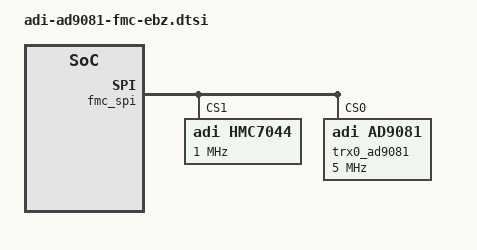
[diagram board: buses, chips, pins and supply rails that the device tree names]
// SPDX-License-Identifier: GPL-2.0
/*
 * dts file for AD9081-FMC-EBZ on Xilinx ZynqMP ZCU102 Rev 1.0
 *
 * Copyright (C) 2019 Analog Devices Inc.
 */

#include <dt-bindings/iio/frequency/hmc7044.h>
#include <dt-bindings/iio/adc/adi,ad9081.h>



&fmc_spi {
	hmc7044: hmc7044@1 {
		#address-cells = <1>;
		#size-cells = <0>;
		#clock-cells = <1>;
		compatible = "adi,hmc7044";
		reg = <1>;
		spi-max-frequency = <1000000>;

		adi,pll1-clkin-frequencies = <122880000 30720000 0 0>;

		adi,pll1-loop-bandwidth-hz = <200>;

		adi,vcxo-frequency = <122880000>;

		adi,pll2-output-frequency = <3100000000>;

		adi,sysref-timer-divider = <1024>;
		adi,pulse-generator-mode = <0>;

		adi,clkin0-buffer-mode  = <0x07>;
		adi,clkin1-buffer-mode  = <0x07>;
		adi,oscin-buffer-mode = <0x15>;

		adi,gpi-controls = <0x00 0x00 0x00 0x00>;
		adi,gpo-controls = <0x37 0x33 0x00 0x00>;

		clock-output-names =
				"hmc7044_out0", "hmc7044_out1", "hmc7044_out2",
				"hmc7044_out3", "hmc7044_out4", "hmc7044_out5",
				"hmc7044_out6", "hmc7044_out7", "hmc7044_out8",
				"hmc7044_out9", "hmc7044_out10", "hmc7044_out11",
				"hmc7044_out12", "hmc7044_out13";

		hmc7044_c0: channel@0 {
			reg = <0>;
			adi,extended-name = "CORE_CLK_RX";
			adi,divider = <8>;	// 387.5
			adi,driver-mode = <HMC7044_DRIVER_MODE_LVDS>;	// LVDS

		};
		hmc7044_c2: channel@2 {
			reg = <2>;
			adi,extended-name = "DEV_REFCLK";
			adi,divider = <8>;	// 387.5
			adi,driver-mode = <HMC7044_DRIVER_MODE_LVDS>;	// LVDS
		};
		hmc7044_c3: channel@3 {
			reg = <3>;
			adi,extended-name = "DEV_SYSREF";
			adi,divider = <256>;	// 12.109375
			adi,driver-mode = <HMC7044_DRIVER_MODE_LVDS>;	// LVDS
		};

		hmc7044_c6: channel@6 {
			reg = <6>;
			adi,extended-name = "CORE_CLK_TX";
			adi,divider = <8>;	// 122880000
			adi,driver-mode = <HMC7044_DRIVER_MODE_LVDS>;	// LVDS
		};

		hmc7044_c8: channel@8 {
			reg = <8>;
			adi,extended-name = "FPGA_REFCLK1";
			adi,divider = <4>;	// 775
			adi,driver-mode = <HMC7044_DRIVER_MODE_LVDS>;	// LVDS
		};
		hmc7044_c10: channel@10 {
			reg = <10>;
			adi,extended-name = "CORE_CLK_RX_ALT";
			adi,divider = <8>;	// 387.5
			adi,driver-mode = <HMC7044_DRIVER_MODE_LVDS>;	// LVDS
		};
		hmc7044_c12: channel@12 {
			reg = <12>;
			adi,extended-name = "FPGA_REFCLK2";
			adi,divider = <4>;	// 775
			adi,driver-mode = <HMC7044_DRIVER_MODE_LVDS>;	// LVDS
		};
		hmc7044_c13: channel@13 {
			reg = <13>;
			adi,extended-name = "FPGA_SYSREF";
			adi,divider = <256>;	// 12.109375
			adi,driver-mode = <HMC7044_DRIVER_MODE_LVDS>;	// LVDS
		};
	};
	trx0_ad9081: ad9081@0 {
		#address-cells = <1>;
		#size-cells = <0>;
		compatible = "adi,ad9081";
		reg = <0>;
		spi-max-frequency = <5000000>;

		/* Clocks */
		clocks = <&axi_ad9081_rx_jesd>, <&axi_ad9081_tx_jesd>,
			 <&hmc7044 2>, <&hmc7044 6>, <&hmc7044 3>, <&hmc7044 13>;

		clock-names = "jesd_rx_clk", "jesd_tx_clk",
			      "dev_clk", "fmc_clk", "sysref_dev_clk",
			      "sysref_fmc_clk";

		clock-output-names = "rx_sampl_clk", "tx_sampl_clk";
		#clock-cells = <1>;

		adi,tx-dacs {
			#size-cells = <0>;
			#address-cells = <1>;

			adi,dac-frequency-hz = /bits/ 64 <6200000000>;

			adi,main-data-paths {
				#address-cells = <1>;
				#size-cells = <0>;

				adi,interpolation = <2>;

				ad9081_dac0: dac@0 {
					reg = <0>;
					adi,crossbar-select = <&ad9081_tx_fddc_chan0>;
					adi,nco-frequency-shift-hz = /bits/ 64 <100000000>; /* 100 MHz */
				};
				ad9081_dac1: dac@1 {
					reg = <1>;
					adi,crossbar-select = <&ad9081_tx_fddc_chan1>;
					adi,nco-frequency-shift-hz = /bits/ 64 <200000000>; /* 200 MHz */
				};
				ad9081_dac2: dac@2 {
					reg = <2>;
					adi,crossbar-select = <&ad9081_tx_fddc_chan0>, <&ad9081_tx_fddc_chan1>; /* All 4 channels @ dac2 */
					adi,nco-frequency-shift-hz = /bits/ 64 <300000000>;  /* 300 MHz */
				};
				ad9081_dac3: dac@3 {
					reg = <3>;
					adi,crossbar-select = <&ad9081_tx_fddc_chan0>, <&ad9081_tx_fddc_chan1>; /* All 4 channels @ dac2 */
					adi,nco-frequency-shift-hz = /bits/ 64 <400000000>; /* 400 MHz */
				};
			};

			adi,channelizer-paths {
				#address-cells = <1>;
				#size-cells = <0>;
				adi,interpolation = <2>;

				ad9081_tx_fddc_chan0: channel@0 {
					reg = <0>;
					adi,gain = <0>;
					adi,nco-frequency-shift-hz =  /bits/ 64 <50000000>;

				};
				ad9081_tx_fddc_chan1: channel@1 {
					reg = <1>;
					adi,gain = <0>;
					adi,nco-frequency-shift-hz =  /bits/ 64 <100000000>;

				};
			};

			adi,jesd-links {
				#size-cells = <0>;
				#address-cells = <1>;

				ad9081_tx_jesd_l0: link@0 {
					#address-cells = <1>;
					#size-cells = <0>;
					reg = <0>;
					adi,converter-select = <&ad9081_tx_fddc_chan0 0>, <&ad9081_tx_fddc_chan0 1>, /* FIXME not supported */
							       <&ad9081_tx_fddc_chan1 0>, <&ad9081_tx_fddc_chan1 1>;
					adi,logical-lane-mapping = /bits/ 8 <0 1 2 3 4 5 6 7>;

					adi,link-mode = <17>;			/* JESD Quick Configuration Mode */
					adi,subclass = <1>;			/* JESD SUBCLASS 0,1,2 */
					adi,version = <1>;			/* JESD VERSION 0=204A,1=204B,2=204C */
					adi,dual-link = <0>;			/* JESD Dual Link Mode */

					adi,converters-per-device = <4>;	/* JESD M */
					adi,octets-per-frame = <1>;		/* JESD F */

					adi,frames-per-multiframe = <32>;	/* JESD K */
					adi,converter-resolution = <16>;	/* JESD N */
					adi,bits-per-sample = <16>;		/* JESD NP' */
					adi,control-bits-per-sample = <0>;	/* JESD CS */
					adi,lanes-per-device = <8>;		/* JESD L */
					adi,samples-per-converter-per-frame = <1>; /* JESD S */
					adi,high-density = <0>;			/* JESD HD */
				};
			};
		};

		adi,rx-adcs {
			#size-cells = <0>;
			#address-cells = <1>;

			adi,adc-frequency-hz = /bits/ 64 <3100000000>;

			adi,main-data-paths {
				#address-cells = <1>;
				#size-cells = <0>;


				ad9081_adc0: adc@0 {
					reg = <0>;
					adi,decimation = <2>;
					adi,nco-frequency-shift-hz =  /bits/ 64 <70000000>;
					//adi,crossbar-select = <&ad9081_rx_fddc_chan0>, <&ad9081_rx_fddc_chan2>; /* Static for now */
				};
				ad9081_adc1: adc@1 {
					reg = <1>;
					adi,decimation = <2>;
					adi,nco-frequency-shift-hz =  /bits/ 64 <150000000>;
					//adi,crossbar-select = <&ad9081_rx_fddc_chan1>, <&ad9081_rx_fddc_chan3>; /* Static for now */
				};
			};

			adi,channelizer-paths {
				#address-cells = <1>;
				#size-cells = <0>;


				ad9081_rx_fddc_chan0: channel@0 {
					reg = <0>;
					adi,decimation = <1>;
					adi,gain = <0>;
					adi,nco-frequency-shift-hz =  /bits/ 64 <30000000>;

				};
				ad9081_rx_fddc_chan1: channel@1 {
					reg = <1>;
					adi,decimation = <1>;
					adi,gain = <0>;
					adi,nco-frequency-shift-hz =  /bits/ 64 <60000000>;

				};
			};

			adi,jesd-links {
				#size-cells = <0>;
				#address-cells = <1>;

				ad9081_rx_jesd_l0: link@0 {
					reg = <0>;
					adi,converter-select = <&ad9081_rx_fddc_chan0 0>, <&ad9081_rx_fddc_chan0 1>,
								<&ad9081_rx_fddc_chan1 0>, <&ad9081_rx_fddc_chan1 1>;
 					adi,logical-lane-mapping = /bits/ 8 <0 1 2 3 4 5 6 7>;


					adi,link-mode = <18>;			/* JESD Quick Configuration Mode */
					adi,subclass = <1>;			/* JESD SUBCLASS 0,1,2 */
					adi,version = <1>;			/* JESD VERSION 0=204A,1=204B,2=204C */
					adi,dual-link = <0>;			/* JESD Dual Link Mode */

					adi,converters-per-device = <4>;	/* JESD M */
					adi,octets-per-frame = <1>;		/* JESD F */

					adi,frames-per-multiframe = <32>;	/* JESD K */
					adi,converter-resolution = <16>;	/* JESD N */
					adi,bits-per-sample = <16>;		/* JESD NP' */
					adi,control-bits-per-sample = <0>;	/* JESD CS */
					adi,lanes-per-device = <8>;		/* JESD L */
					adi,samples-per-converter-per-frame = <1>; /* JESD S */
					adi,high-density = <0>;			/* JESD HD */
				};
			};
		};
	};
};

